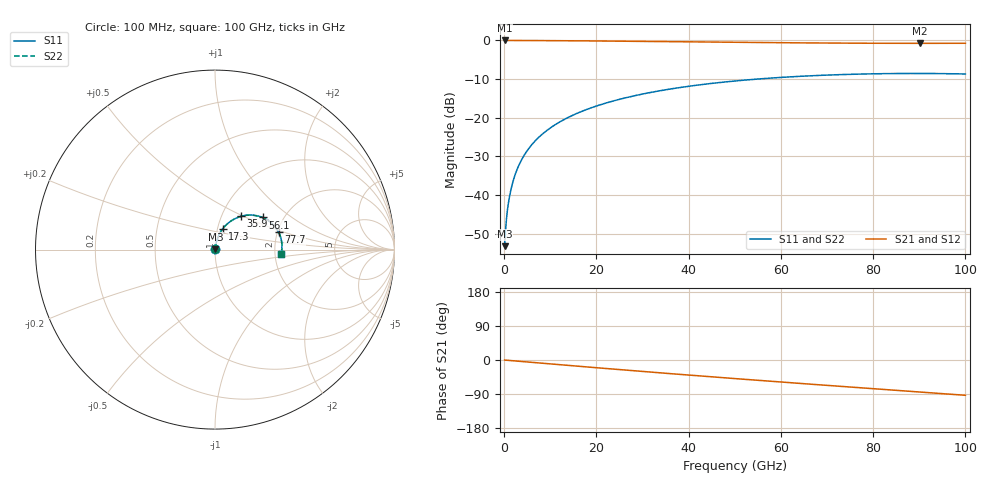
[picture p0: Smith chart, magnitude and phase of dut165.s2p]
! Touchstone file exported from HFSS 2026.1.0
!  File:  C:/ffzhzh/LocalFiles/Ansys_Project_Files/temp_train_RDL_165_1783500139_41296.aedt
!  Generated:  04:43:22 PM Jul  8, 2026
!  Design:  RDL
!  Project:  temp_train_RDL_165_1783500139_41296
! Variables:
!  h_bsmrdl = 2um
!  h_ox = 20um
!  h_rdl = 5um
!  h_sub = 80um
!  h_tmrdl = 2.26um
!  h_tsv = 80um
!  h_via = 3um
!  l_bsmrdl = 300um
!  l_sub = 697.9um
!  l_tmrdl = 297.9um
!  m_sub = 200um
!  pitch = 44.24um
!  r_tsv = 6um
!  s_tmrdl = 10um
!  w_bsmrdl = 18um
!  w_sub = 500um
!  w_tmrdl = 29.65um
!  x_tsv_center1 = 312.725um
!  x_tsv_center2 = 630.725um
!  x_tsv_center3 = 958.275um
!  x_tsv_center4 = 1276.275um
!  x_tsv_center5 = 1603.825um
!  x_tsv_center6 = 1921.825um
# GHz S MA R 50.000000
! Terminal data exported
! Port[1] = TM_RDL1_1_T1
! Port[2] = TM_RDL1_1_T2
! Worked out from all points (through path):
!   1000 points, 100 MHz to 100 GHz, reference 50 ohm
!   highest |S21| = -0.02 dB at 100 MHz (marker M1); lowest = -0.8 dB at 90.1 GHz (marker M2)
!   group delay of S21, straight-line fit = 2.57 ps
!   lowest |S11| = -53.2 dB at 100 MHz (marker M3), VSWR 1.00, Z = 50.2 + j0.094 ohm
!   |S11| at or under -10 dB: start of sweep to 54.85 GHz
!   |S22| runs from -53.2 to -8.5 dB; largest |S21 - S12| = 7e-15
!   S11 on the Smith chart (normalised r, x): 100 MHz: 1.00, +0.00; 17.3 GHz: 1.06, +0.25; 35.9 GHz: 1.23, +0.48; 56.1 GHz: 1.57, +0.63; 77.7 GHz: 2.03, +0.45; 100 GHz: 2.16, -0.12
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0.1  0.002191 25.3  0.998 -0.1  0.998 -0.1  0.002191 25.3
! Gamma 0 0 0 0
! Port Impedance 50 0 50 0
1  0.008416 69.9  0.9972 -1.1  0.9972 -1.1  0.008416 69.9
1.3  0.01054 73.0  0.9971 -1.4  0.9971 -1.4  0.01054 73.0
1.7  0.01342 75.6  0.997 -1.8  0.997 -1.8  0.01342 75.6
2.3  0.01779 77.8  0.9968 -2.4  0.9968 -2.4  0.01779 77.8
2.9  0.02219 78.9  0.9966 -3.0  0.9966 -3.0  0.02219 78.9
4.4  0.03321 79.6  0.9961 -4.6  0.9961 -4.6  0.03321 79.6
6.6  0.04931 78.8  0.9951 -6.8  0.9951 -6.8  0.04931 78.8
9.3  0.06882 76.8  0.9933 -9.6  0.9933 -9.6  0.06882 76.8
12.7  0.09281 73.8  0.9906 -13.1  0.9906 -13.1  0.09281 73.8
16.8  0.1208 70.0  0.9867 -17.2  0.9867 -17.2  0.1208 69.9
17.3  0.1241 69.5  0.9862 -17.7  0.9862 -17.7  0.1241 69.5
24.5  0.1701 62.7  0.978 -24.8  0.978 -24.8  0.1701 62.6
33.4  0.2215 54.4  0.9666 -33.5  0.9666 -33.5  0.2215 54.3
35.9  0.2347 52.1  0.9632 -35.9  0.9632 -35.9  0.2347 52.0
50.1  0.299 39.3  0.9444 -49.1  0.9444 -49.1  0.299 39.0
56.1  0.3204 33.9  0.9372 -54.6  0.9372 -54.6  0.3204 33.7
66.7  0.3494 24.7  0.9266 -64.1  0.9266 -64.1  0.3494 24.4
77.7  0.3677 15.3  0.9192 -73.7  0.9192 -73.7  0.3677 14.9
83.4  0.3724 10.4  0.9171 -78.7  0.9171 -78.7  0.3724 10.0
90.1  0.3739 4.7  0.9163 -84.5  0.9163 -84.5  0.3739 4.3
100  0.3678 -3.7  0.9181 -93.2  0.9181 -93.2  0.3679 -4.2
